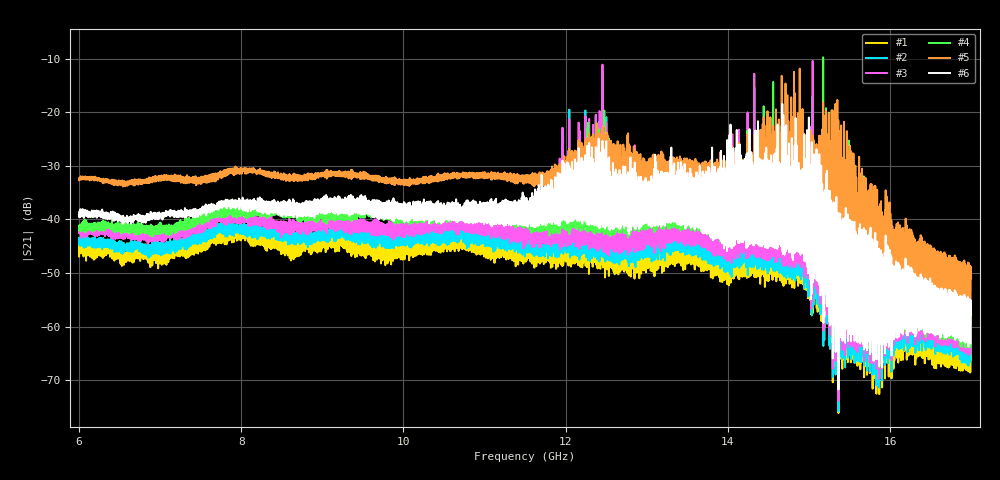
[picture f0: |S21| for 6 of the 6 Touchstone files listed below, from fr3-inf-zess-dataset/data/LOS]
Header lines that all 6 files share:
#  HZ  S  RI  R  50.00
! Rohde & Schwarz Vector Network Analyzer
! Rohde-Schwarz,ZNA67-2Port,1332450062101215,3.01
! freq[Hz]  re:S11  im:S11  re:S21  im:S21  re:S12  im:S12  re:S22  im:S22
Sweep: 6 GHz to 17 GHz
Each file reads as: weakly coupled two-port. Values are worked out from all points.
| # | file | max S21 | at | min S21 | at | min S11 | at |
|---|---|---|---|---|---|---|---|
| 1 | pt81.s2p | -12.31 dB | 12.455 GHz | -76.1 dB | 15.365 GHz | -33.7 dB | 13.761 GHz |
| 2 | pt82.s2p | -15.09 dB | 12.455 GHz | -75.8 dB | 15.365 GHz | -37.6 dB | 14.372 GHz |
| 3 | pt83.s2p | -10.43 dB | 15.047 GHz | -73.8 dB | 15.365 GHz | -37.3 dB | 14.007 GHz |
| 4 | pt84.s2p | -9.74 dB | 15.18 GHz | -70.2 dB | 15.37 GHz | -40.5 dB | 15.34 GHz |
| 5 | pt86.s2p | -11.87 dB | 14.89 GHz | -61.3 dB | 15.37 GHz | -47.9 dB | 14.41 GHz |
| 6 | pt102.s2p | -18.43 dB | 14.673 GHz | -71.7 dB | 15.365 GHz | -19.2 dB | 14.541 GHz |
